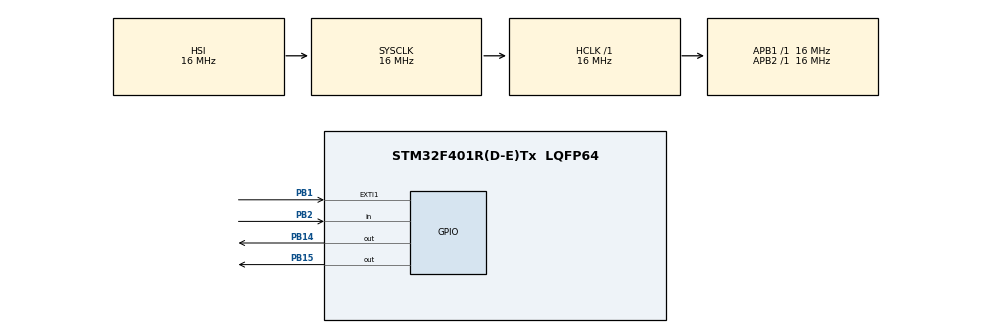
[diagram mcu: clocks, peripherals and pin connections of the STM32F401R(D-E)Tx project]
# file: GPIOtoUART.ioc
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Mcu.Family=STM32F4
Mcu.Name=STM32F401R(D-E)Tx
Mcu.Package=LQFP64
NVIC.EXTI1_IRQn=true\:1\:0\:true\:false\:true\:true
NVIC.PriorityGroup=NVIC_PRIORITYGROUP_4
PA10.Signal=USART1_RX
PA2.Signal=USART2_TX
PA3.Signal=USART2_RX
PA9.Signal=USART1_TX
PB1.Signal=GPXTI1
PB14.Signal=GPIO_Output
PB15.Signal=GPIO_Output
PB2.Signal=GPIO_Input
ProjectManager.HeapSize=0x200
ProjectManager.StackSize=0x400
ProjectManager.TargetToolchain=SW4STM32
RCC.AHBFreq_Value=16000000
RCC.APB1Freq_Value=16000000
RCC.APB2Freq_Value=16000000
RCC.CortexFreq_Value=16000000
RCC.HSE_VALUE=25000000
RCC.HSI_VALUE=16000000
RCC.LSE_VALUE=32768
RCC.SYSCLKFreq_VALUE=16000000
RCC.VCOOutputFreq_Value=192000000
board=GPIOtoUART

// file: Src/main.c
/**
  ******************************************************************************
  * File Name          : main.c
  * Description        : Main program body
  ******************************************************************************
  ** This notice applies to any and all portions of this file
  * that are not between comment pairs USER CODE BEGIN and
  * USER CODE END. Other portions of this file, whether
  * inserted by the user or by software development tools
  * are owned by their respective copyright owners.
  *
  * COPYRIGHT(c) 2018 STMicroelectronics
  *
  * Redistribution and use in source and binary forms, with or without modification,
  * are permitted provided that the following conditions are met:
  *   1. Redistributions of source code must retain the above copyright notice,
  *      this list of conditions and the following disclaimer.
  *   2. Redistributions in binary form must reproduce the above copyright notice,
  *      this list of conditions and the following disclaimer in the documentation
  *      and/or other materials provided with the distribution.
  *   3. Neither the name of STMicroelectronics nor the names of its contributors
  *      may be used to endorse or promote products derived from this software
  *      without specific prior written permission.
  *
  * THIS SOFTWARE IS PROVIDED BY THE COPYRIGHT HOLDERS AND CONTRIBUTORS "AS IS"
  * AND ANY EXPRESS OR IMPLIED WARRANTIES, INCLUDING, BUT NOT LIMITED TO, THE
  * IMPLIED WARRANTIES OF MERCHANTABILITY AND FITNESS FOR A PARTICULAR PURPOSE ARE
  * DISCLAIMED. IN NO EVENT SHALL THE COPYRIGHT HOLDER OR CONTRIBUTORS BE LIABLE
  * FOR ANY DIRECT, INDIRECT, INCIDENTAL, SPECIAL, EXEMPLARY, OR CONSEQUENTIAL
  * DAMAGES (INCLUDING, BUT NOT LIMITED TO, PROCUREMENT OF SUBSTITUTE GOODS OR
  * SERVICES; LOSS OF USE, DATA, OR PROFITS; OR BUSINESS INTERRUPTION) HOWEVER
  * CAUSED AND ON ANY THEORY OF LIABILITY, WHETHER IN CONTRACT, STRICT LIABILITY,
  * OR TORT (INCLUDING NEGLIGENCE OR OTHERWISE) ARISING IN ANY WAY OUT OF THE USE
  * OF THIS SOFTWARE, EVEN IF ADVISED OF THE POSSIBILITY OF SUCH DAMAGE.
  *
  ******************************************************************************
  */
#include "main.h"
#include "stm32f4xx_hal.h"

/* USER CODE BEGIN PV */
/* Private variables ---------------------------------------------------------*/

/* USER CODE END PV */

void SystemClock_Config(void);
static void MX_GPIO_Init(void);

/* USER CODE BEGIN PFP */
/* Private function prototypes -----------------------------------------------*/

/* USER CODE END PFP */

int main(void)
{

  /* MCU Configuration----------------------------------------------------------*/

  /* Reset of all peripherals, Initializes the Flash interface and the Systick. */
  HAL_Init();

  /* Configure the system clock */
  SystemClock_Config();

  /* Initialize all configured peripherals */
  MX_GPIO_Init();

  /* Infinite loop */
  while (1)
  {

  }

}

/** System Clock Configuration
*/
void SystemClock_Config(void)
{

  RCC_OscInitTypeDef RCC_OscInitStruct;
  RCC_ClkInitTypeDef RCC_ClkInitStruct;

    /**Configure the main internal regulator output voltage
    */
  __HAL_RCC_PWR_CLK_ENABLE();

  __HAL_PWR_VOLTAGESCALING_CONFIG(PWR_REGULATOR_VOLTAGE_SCALE2);

    /**Initializes the CPU, AHB and APB busses clocks
    */
  RCC_OscInitStruct.OscillatorType = RCC_OSCILLATORTYPE_HSI;
  RCC_OscInitStruct.HSIState = RCC_HSI_ON;
  RCC_OscInitStruct.HSICalibrationValue = 16;
  RCC_OscInitStruct.PLL.PLLState = RCC_PLL_NONE;
  if (HAL_RCC_OscConfig(&RCC_OscInitStruct) != HAL_OK)
  {
    _Error_Handler(__FILE__, __LINE__);
  }

    /**Initializes the CPU, AHB and APB busses clocks
    */
  RCC_ClkInitStruct.ClockType = RCC_CLOCKTYPE_HCLK|RCC_CLOCKTYPE_SYSCLK
                              |RCC_CLOCKTYPE_PCLK1|RCC_CLOCKTYPE_PCLK2;
  RCC_ClkInitStruct.SYSCLKSource = RCC_SYSCLKSOURCE_HSI;
  RCC_ClkInitStruct.AHBCLKDivider = RCC_SYSCLK_DIV1;
  RCC_ClkInitStruct.APB1CLKDivider = RCC_HCLK_DIV1;
  RCC_ClkInitStruct.APB2CLKDivider = RCC_HCLK_DIV1;

  if (HAL_RCC_ClockConfig(&RCC_ClkInitStruct, FLASH_LATENCY_0) != HAL_OK)
  {
    _Error_Handler(__FILE__, __LINE__);
  }

    /**Configure the Systick interrupt time
    */
  HAL_SYSTICK_Config(HAL_RCC_GetHCLKFreq()/1000);

    /**Configure the Systick
    */
  HAL_SYSTICK_CLKSourceConfig(SYSTICK_CLKSOURCE_HCLK);

  /* SysTick_IRQn interrupt configuration */
  HAL_NVIC_SetPriority(SysTick_IRQn, 0, 0);
}

/** Configure pins
     PA2   ------> USART2_TX
     PA3   ------> USART2_RX
     PA9   ------> USART1_TX
     PA10   ------> USART1_RX
*/
static void MX_GPIO_Init(void)
{

  GPIO_InitTypeDef GPIO_InitStruct;

  /* GPIO Ports Clock Enable */
  __HAL_RCC_GPIOA_CLK_ENABLE();
  __HAL_RCC_GPIOB_CLK_ENABLE();

  /*Configure GPIO pin Output Level */
  HAL_GPIO_WritePin(GPIOB, GPIO_PIN_14|GPIO_PIN_15, GPIO_PIN_RESET);

  /*Configure GPIO pins : PA2 PA3 */
  GPIO_InitStruct.Pin = GPIO_PIN_2|GPIO_PIN_3;
  GPIO_InitStruct.Mode = GPIO_MODE_AF_PP;
  GPIO_InitStruct.Pull = GPIO_NOPULL;
  GPIO_InitStruct.Speed = GPIO_SPEED_FREQ_VERY_HIGH;
  GPIO_InitStruct.Alternate = GPIO_AF7_USART2;
  HAL_GPIO_Init(GPIOA, &GPIO_InitStruct);

  /*Configure GPIO pin : PB1 */
  GPIO_InitStruct.Pin = GPIO_PIN_1;
  GPIO_InitStruct.Mode = GPIO_MODE_IT_RISING;
  GPIO_InitStruct.Pull = GPIO_NOPULL;
  HAL_GPIO_Init(GPIOB, &GPIO_InitStruct);

  /*Configure GPIO pin : PB2 */
  GPIO_InitStruct.Pin = GPIO_PIN_2;
  GPIO_InitStruct.Mode = GPIO_MODE_INPUT;
  GPIO_InitStruct.Pull = GPIO_NOPULL;
  HAL_GPIO_Init(GPIOB, &GPIO_InitStruct);

  /*Configure GPIO pins : PB14 PB15 */
  GPIO_InitStruct.Pin = GPIO_PIN_14|GPIO_PIN_15;
  GPIO_InitStruct.Mode = GPIO_MODE_OUTPUT_PP;
  GPIO_InitStruct.Pull = GPIO_NOPULL;
  GPIO_InitStruct.Speed = GPIO_SPEED_FREQ_LOW;
  HAL_GPIO_Init(GPIOB, &GPIO_InitStruct);

  /*Configure GPIO pins : PA9 PA10 */
  GPIO_InitStruct.Pin = GPIO_PIN_9|GPIO_PIN_10;
  GPIO_InitStruct.Mode = GPIO_MODE_AF_PP;
  GPIO_InitStruct.Pull = GPIO_NOPULL;
  GPIO_InitStruct.Speed = GPIO_SPEED_FREQ_VERY_HIGH;
  GPIO_InitStruct.Alternate = GPIO_AF7_USART1;
  HAL_GPIO_Init(GPIOA, &GPIO_InitStruct);

  /* EXTI interrupt init*/
  HAL_NVIC_SetPriority(EXTI1_IRQn, 1, 0);
  HAL_NVIC_EnableIRQ(EXTI1_IRQn);

}

/* USER CODE BEGIN 4 */
// -----------------------------------------------------------------------------------------------------------------------------------
// This function is the sending part of sending UART protocol through a GPIO output pin to a GPIO input pin.
// Sends single char variables over the channel.
// -----------------------------------------------------------------------------------------------------------------------------------

void send(unsigned char data, int time) {
	int j;
	//
	HAL_GPIO_WritePin(GPIOB, GPIO_PIN_14, GPIO_PIN_SET);
	HAL_Delay(10);

	for (j=0; j<8; j++) {
		char* shifted = (char*)(data>>j);
		if (shifted[0] == 1)
			HAL_GPIO_WritePin(GPIOB, GPIO_PIN_14, GPIO_PIN_SET);

		else
			HAL_GPIO_WritePin(GPIOB, GPIO_PIN_14, GPIO_PIN_RESET);

		HAL_Delay(10);
	}
	HAL_GPIO_WritePin(GPIOB, GPIO_PIN_14, GPIO_PIN_RESET);
}
// -----------------------------------------------------------------------------------------------------------------------------------

// -----------------------------------------------------------------------------------------------------------------------------------
// This function is the receiving part of the sending UART protocol through a GPIO output pin to a GPIO input pin.
// Receives single char variables over the channel.
// -----------------------------------------------------------------------------------------------------------------------------------
unsigned char receive (void) {
	int j;
	unsigned char data = (unsigned char)0;

	HAL_Delay(10);

	 for (j=0; j<8; j++){//receives whole byte. can be decreased depending on how many commands we use, but would be good to keep when using joystick
		 data+=(HAL_GPIO_ReadPin(GPIOB, GPIO_PIN_1)<<j); //PA3

		 HAL_Delay(10);
	 }

	 return data;
}
// -----------------------------------------------------------------------------------------------------------------------------------

// -----------------------------------------------------------------------------------------------------------------------------------
// Function to print to console on the computer. Do this by opening up console in the Arduino IDE.
// -----------------------------------------------------------------------------------------------------------------------------------
void printStringToConsole(char message[]){
	 if(HAL_UART_Transmit(&huart2, (uint8_t*)message, strlen(message), timeOut)==HAL_OK){
    }
}
// -----------------------------------------------------------------------------------------------------------------------------------

/* USER CODE END 4 */

void _Error_Handler(char * file, int line)
{
  while(1)
  {
  }
}

/************************ (C) COPYRIGHT STMicroelectronics *****END OF FILE****/
